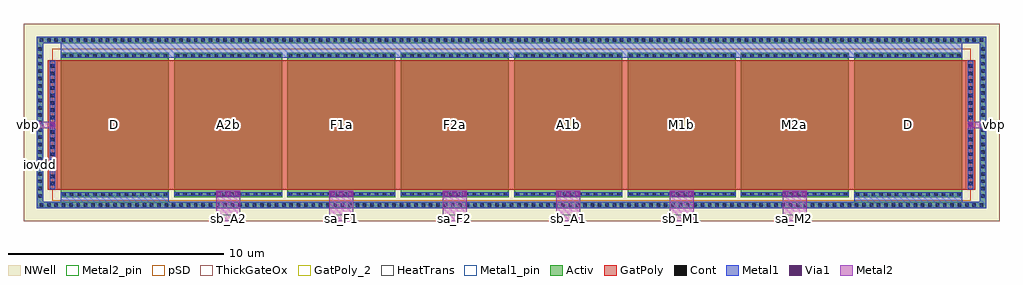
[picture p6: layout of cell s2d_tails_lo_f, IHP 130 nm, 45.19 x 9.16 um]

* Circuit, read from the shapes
.subckt s2d_tails_lo_f iovdd sa_F1 sa_F2 sa_M2 sb_A1 sb_A2 sb_M1 vbp
XM1 iovdd vbp iovdd iovdd sg13_hv_pmos w=5u l=6u m=2
XM2 iovdd vbp sb_A2 iovdd sg13_hv_pmos w=5u l=6u
XM3 iovdd vbp sa_F1 iovdd sg13_hv_pmos w=5u l=6u
XM4 iovdd vbp sa_F2 iovdd sg13_hv_pmos w=5u l=6u
XM5 iovdd vbp sb_A1 iovdd sg13_hv_pmos w=5u l=6u
XM6 iovdd vbp sb_M1 iovdd sg13_hv_pmos w=5u l=6u
XM7 iovdd vbp sa_M2 iovdd sg13_hv_pmos w=5u l=6u
.ends

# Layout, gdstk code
from math import pi, radians
import gdstk
lib = gdstk.Library(unit=1e-6, precision=1e-09)
def R(c, l, rs):  # rectangles x0, y0, x1, y1
    for r in rs: c.add(gdstk.rectangle(r[:2], r[2:], *l))
def A(c, l, x, y, w, h, nx, ny, dx, dy):  # array of equal rectangles
    R(c, l, [(x+i*dx, y+j*dy, x+i*dx+w, y+j*dy+h) for i in range(nx) for j in range(ny)])
Activ = (1, 0)
GatPoly = (5, 0)
GatPoly_2 = (5, 2)
Cont = (6, 0)
Metal1 = (8, 0)
Metal1_pin = (8, 2)
Metal2 = (10, 0)
Metal2_pin = (10, 2)
pSD = (14, 0)
Via1 = (19, 0)
NWell = (31, 0)
ThickGateOx = (44, 0)
HeatTrans = (51, 0)

pmoshv_w5_l6 = lib.new_cell('pmosHV_w5_l6')
R(pmoshv_w5_l6, Activ, [(0,0,0.3,0.3), (0,0,6.68,5), (6.38,0,6.68,0.3)])
R(pmoshv_w5_l6, GatPoly, [(0.34,-0.18,6.34,5.18)])
R(pmoshv_w5_l6, GatPoly_2, [(0.34,-0.18,6.34,5.18)])
A(pmoshv_w5_l6, Cont, 0.07, 0.07, 0.16, 0.16, 1, 4, 0, 0.36)
A(pmoshv_w5_l6, Cont, 6.45, 0.07, 0.16, 0.16, 1, 4, 0, 0.36)
A(pmoshv_w5_l6, Cont, 0.07, 1.515, 0.16, 0.16, 1, 3, 0, 0.36)
A(pmoshv_w5_l6, Cont, 6.45, 1.515, 0.16, 0.16, 1, 3, 0, 0.36)
A(pmoshv_w5_l6, Cont, 0.07, 2.6, 0.16, 0.16, 1, 3, 0, 0.36)
A(pmoshv_w5_l6, Cont, 6.45, 2.6, 0.16, 0.16, 1, 3, 0, 0.36)
A(pmoshv_w5_l6, Cont, 0.07, 3.685, 0.16, 0.16, 1, 3, 0, 0.36)
A(pmoshv_w5_l6, Cont, 6.45, 3.685, 0.16, 0.16, 1, 3, 0, 0.36)
R(pmoshv_w5_l6, Cont, [(0.07,4.77,0.23,4.93), (6.45,4.77,6.61,4.93)])
R(pmoshv_w5_l6, Metal1, [(0.07,0,0.23,5), (6.45,0,6.61,5)])
R(pmoshv_w5_l6, Metal1_pin, [(0.07,0,0.23,5), (6.45,0,6.61,5)])
R(pmoshv_w5_l6, pSD, [(-0.18,-0.4,6.86,5.4)])
R(pmoshv_w5_l6, NWell, [(-0.62,-0.62,7.3,5.62)])
R(pmoshv_w5_l6, ThickGateOx, [(-0.62,-0.62,7.3,5.62)])
R(pmoshv_w5_l6, HeatTrans, [(0.34,-0.18,6.34,5.18)])
pmoshv_w5_l6.add(gdstk.Label('pmosHV', (3.34,2.5), layer=63, texttype=0))
pmoshv_w5_l6.add(gdstk.Label('pmos', (3.34,2.5), layer=51, texttype=0))

s2d_tails_lo_f = lib.new_cell('s2d_tails_lo_f')
R(s2d_tails_lo_f, Activ, [(0.62,0.62,44.57,0.92), (0.62,0.92,0.92,8.24), (44.27,0.92,44.57,8.24), (0.62,8.24,44.57,8.54)])
R(s2d_tails_lo_f, GatPoly, [(1.12,1.47,1.72,7.47), (43.47,1.47,44.07,7.47)])
A(s2d_tails_lo_f, Cont, 0.755, 0.69, 0.16, 0.16, 129, 2, 0.34, 7.62)
A(s2d_tails_lo_f, Cont, 0.69, 1.1, 0.16, 0.16, 1, 21, 0, 0.34)
A(s2d_tails_lo_f, Cont, 44.34, 1.1, 0.16, 0.16, 1, 21, 0, 0.34)
A(s2d_tails_lo_f, Cont, 1.26, 1.67, 0.16, 0.16, 1, 17, 0, 0.34)
A(s2d_tails_lo_f, Cont, 43.77, 1.67, 0.16, 0.16, 1, 17, 0, 0.34)
A(s2d_tails_lo_f, Metal1, 8.915, 1.14, 1.11, 0.29, 6, 1, 5.25, 0)
R(s2d_tails_lo_f, Metal1, [(0.62,0.62,44.57,0.92), (0.62,0.92,0.92,8.24), (1.72,0.92,6.72,1.36), (38.47,0.92,43.47,1.36), (44.27,0.92,44.57,8.24), (1.21,1.49,1.47,7.45), (43.72,1.49,43.98,7.45), (1.72,7.58,43.47,8.54), (0.62,8.24,44.57,8.54)])
R(s2d_tails_lo_f, Metal1_pin, [(0.62,1.63,0.92,3.63)])
A(s2d_tails_lo_f, Metal2, 8.915, 0, 1.11, 1.43, 6, 1, 5.25, 0)
R(s2d_tails_lo_f, Metal2, [(0,4.32,1.47,4.62), (43.72,4.32,45.19,4.62)])
A(s2d_tails_lo_f, Metal2_pin, 8.915, 0, 1.11, 0.3, 6, 1, 5.25, 0)
R(s2d_tails_lo_f, Metal2_pin, [(0,4.32,0.5,4.62), (44.69,4.32,45.19,4.62)])
A(s2d_tails_lo_f, Via1, 8.965, 1.19, 0.19, 0.19, 3, 1, 0.41, 0)
A(s2d_tails_lo_f, Via1, 14.215, 1.19, 0.19, 0.19, 3, 1, 0.41, 0)
A(s2d_tails_lo_f, Via1, 19.465, 1.19, 0.19, 0.19, 3, 1, 0.41, 0)
A(s2d_tails_lo_f, Via1, 24.715, 1.19, 0.19, 0.19, 3, 1, 0.41, 0)
A(s2d_tails_lo_f, Via1, 29.965, 1.19, 0.19, 0.19, 3, 1, 0.41, 0)
A(s2d_tails_lo_f, Via1, 35.215, 1.19, 0.19, 0.19, 3, 1, 0.41, 0)
R(s2d_tails_lo_f, Via1, [(1.245,4.375,1.435,4.565), (43.755,4.375,43.945,4.565)])
R(s2d_tails_lo_f, NWell, [(0,0,45.19,9.16)])
R(s2d_tails_lo_f, ThickGateOx, [(0,0,45.19,9.16)])
s2d_tails_lo_f.add(gdstk.Reference(pmoshv_w5_l6, (1.72,7.81), rotation=3*pi/2))
s2d_tails_lo_f.add(gdstk.Reference(pmoshv_w5_l6, (6.97,7.81), rotation=3*pi/2))
s2d_tails_lo_f.add(gdstk.Reference(pmoshv_w5_l6, (12.22,7.81), rotation=3*pi/2))
s2d_tails_lo_f.add(gdstk.Reference(pmoshv_w5_l6, (17.47,7.81), rotation=3*pi/2))
s2d_tails_lo_f.add(gdstk.Reference(pmoshv_w5_l6, (27.72,7.81), rotation=3*pi/2, x_reflection=True))
s2d_tails_lo_f.add(gdstk.Reference(pmoshv_w5_l6, (32.97,7.81), rotation=3*pi/2, x_reflection=True))
s2d_tails_lo_f.add(gdstk.Reference(pmoshv_w5_l6, (38.22,7.81), rotation=3*pi/2, x_reflection=True))
s2d_tails_lo_f.add(gdstk.Reference(pmoshv_w5_l6, (43.47,7.81), rotation=3*pi/2, x_reflection=True))
s2d_tails_lo_f.add(gdstk.Label('D', (4.22,4.47), layer=63, texttype=0))
s2d_tails_lo_f.add(gdstk.Label('A2b', (9.47,4.47), layer=63, texttype=0))
s2d_tails_lo_f.add(gdstk.Label('F1a', (14.72,4.47), layer=63, texttype=0))
s2d_tails_lo_f.add(gdstk.Label('F2a', (19.97,4.47), layer=63, texttype=0))
s2d_tails_lo_f.add(gdstk.Label('A1b', (25.22,4.47), layer=63, texttype=0))
s2d_tails_lo_f.add(gdstk.Label('M1b', (30.47,4.47), layer=63, texttype=0))
s2d_tails_lo_f.add(gdstk.Label('M2a', (35.72,4.47), layer=63, texttype=0))
s2d_tails_lo_f.add(gdstk.Label('D', (40.97,4.47), layer=63, texttype=0))
s2d_tails_lo_f.add(gdstk.Label('iovdd', (0.77,2.63), layer=8, texttype=25))
s2d_tails_lo_f.add(gdstk.Label('sb_A2', (9.47,0.15), layer=10, texttype=25))
s2d_tails_lo_f.add(gdstk.Label('sa_F1', (14.72,0.15), layer=10, texttype=25))
s2d_tails_lo_f.add(gdstk.Label('sa_F2', (19.97,0.15), layer=10, texttype=25))
s2d_tails_lo_f.add(gdstk.Label('sb_A1', (25.22,0.15), layer=10, texttype=25))
s2d_tails_lo_f.add(gdstk.Label('sb_M1', (30.47,0.15), layer=10, texttype=25))
s2d_tails_lo_f.add(gdstk.Label('sa_M2', (35.72,0.15), layer=10, texttype=25))
s2d_tails_lo_f.add(gdstk.Label('vbp', (0.25,4.47), layer=10, texttype=25))
s2d_tails_lo_f.add(gdstk.Label('vbp', (44.94,4.47), layer=10, texttype=25))

lib.write_gds('s2d_tails_lo_f.gds')
